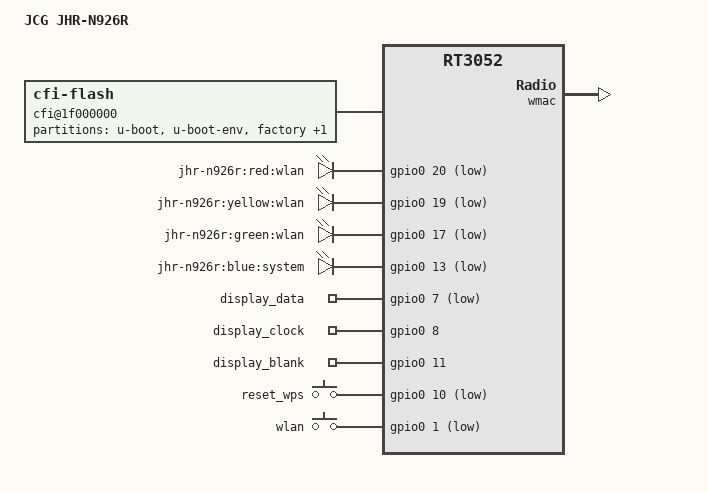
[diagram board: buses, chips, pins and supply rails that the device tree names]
/dts-v1/;

#include "rt3050.dtsi"

/ {
	compatible = "JHR-N926R", "ralink,rt3052-soc";
	model = "JCG JHR-N926R";

	cfi@1f000000 {
		compatible = "cfi-flash";
		reg = <0x1f000000 0x800000>;
		bank-width = <2>;
		device-width = <2>;
		#address-cells = <1>;
		#size-cells = <1>;

		partition@0 {
			label = "u-boot";
			reg = <0x0 0x30000>;
			read-only;
		};

		partition@30000 {
			label = "u-boot-env";
			reg = <0x30000 0x10000>;
			read-only;
		};

		factory: partition@40000 {
			label = "factory";
			reg = <0x40000 0x10000>;
			read-only;
		};

		partition@50000 {
			label = "firmware";
			reg = <0x50000 0x3b0000>;
		};
	};

	gpio-leds {
		compatible = "gpio-leds";

		wlan1 {
			label = "jhr-n926r:red:wlan";
			gpios = <&gpio0 20 1>;
		};

		wlan2 {
			label = "jhr-n926r:yellow:wlan";
			gpios = <&gpio0 19 1>;
		};

		wlan3 {
			label = "jhr-n926r:green:wlan";
			gpios = <&gpio0 17 1>;
		};

		system {
			label = "jhr-n926r:blue:system";
			gpios = <&gpio0 13 1>;
		};
	};

	gpio_export {
		compatible = "gpio-export";
		#size-cells = <0>;

		display_data {
			gpio-export,name = "display_data";
			gpio-export,output = <1>;
			gpios = <&gpio0 7 1>;
		};

		display_clock {
			gpio-export,name = "display_clock";
			gpio-export,output = <1>;
			gpios = <&gpio0 8 0>;
		};

		display_blank {
			gpio-export,name = "display_blank";
			gpio-export,output = <1>;
			gpios = <&gpio0 11 0>;
		};
	};

	gpio-keys-polled {
		compatible = "gpio-keys-polled";
		#address-cells = <1>;
		#size-cells = <0>;
		poll-interval = <20>;

		reset_wps {
			label = "reset_wps";
			gpios = <&gpio0 10 1>;
			linux,code = <0x198>;
		};

		wlan {
			label = "wlan";
			gpios = <&gpio0 1 1>;
			linux,code = <0x100>;
		};
	};
};

&pinctrl {
	state_default: pinctrl0 {
		gpio {
			ralink,group = "spi", "i2c", "jtag", "rgmii", "mdio", "uartf";
			ralink,function = "gpio";
		};
	};
};

&ethernet {
	mtd-mac-address = <&factory 0x2e>;
};

&esw {
	mediatek,portmap = <0x3e>;
};

&wmac {
	ralink,mtd-eeprom = <&factory 0>;
};
